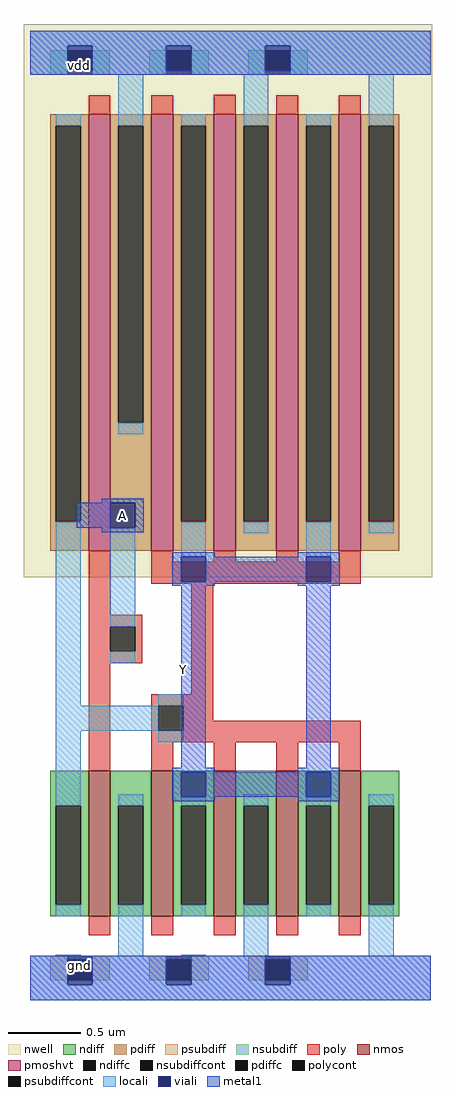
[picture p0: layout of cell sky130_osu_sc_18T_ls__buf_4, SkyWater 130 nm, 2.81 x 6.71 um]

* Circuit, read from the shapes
.subckt sky130_osu_sc_18T_ls__buf_4 A Y
XM1 gnd A n1 gnd sky130_fd_pr__nfet_01v8 w=1 l=0.15
XM2 Y n1 gnd gnd sky130_fd_pr__nfet_01v8 w=1 l=0.15 m=4
XM3 vdd A n1 vdd sky130_fd_pr__pfet_01v8_hvt w=3 l=0.15
XM4 Y n1 vdd vdd sky130_fd_pr__pfet_01v8_hvt w=3 l=0.15 m=4
.ends

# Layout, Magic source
magic
tech sky130A
magscale 1 2
<< nwell >>
rect -9 581 552 1341
<< nmos >>
rect 80 115 110 315
rect 166 115 196 315
rect 252 115 282 315
rect 338 115 368 315
rect 424 115 454 315
<< pmoshvt >>
rect 80 617 110 1217
rect 166 617 196 1217
rect 252 617 282 1217
rect 338 617 368 1217
rect 424 617 454 1217
<< ndiff >>
rect 27 267 80 315
rect 27 131 35 267
rect 69 131 80 267
rect 27 115 80 131
rect 110 267 166 315
rect 110 131 121 267
rect 155 131 166 267
rect 110 115 166 131
rect 196 267 252 315
rect 196 131 207 267
rect 241 131 252 267
rect 196 115 252 131
rect 282 267 338 315
rect 282 131 293 267
rect 327 131 338 267
rect 282 115 338 131
rect 368 267 424 315
rect 368 131 379 267
rect 413 131 424 267
rect 368 115 424 131
rect 454 267 507 315
rect 454 131 465 267
rect 499 131 507 267
rect 454 115 507 131
<< pdiff >>
rect 27 1201 80 1217
rect 27 657 35 1201
rect 69 657 80 1201
rect 27 617 80 657
rect 110 1201 166 1217
rect 110 793 121 1201
rect 155 793 166 1201
rect 110 617 166 793
rect 196 1201 252 1217
rect 196 657 207 1201
rect 241 657 252 1201
rect 196 617 252 657
rect 282 1201 338 1217
rect 282 657 293 1201
rect 327 657 338 1201
rect 282 617 338 657
rect 368 1201 424 1217
rect 368 657 379 1201
rect 413 657 424 1201
rect 368 617 424 657
rect 454 1201 507 1217
rect 454 657 465 1201
rect 499 657 507 1201
rect 454 617 507 657
<< ndiffc >>
rect 35 131 69 267
rect 121 131 155 267
rect 207 131 241 267
rect 293 131 327 267
rect 379 131 413 267
rect 465 131 499 267
<< pdiffc >>
rect 35 657 69 1201
rect 121 793 155 1201
rect 207 657 241 1201
rect 293 657 327 1201
rect 379 657 413 1201
rect 465 657 499 1201
<< psubdiff >>
rect 27 27 51 61
rect 85 27 109 61
rect 163 27 187 61
rect 221 27 245 61
rect 299 27 323 61
rect 357 27 381 61
<< nsubdiff >>
rect 27 1271 51 1305
rect 85 1271 109 1305
rect 163 1271 187 1305
rect 221 1271 245 1305
rect 299 1271 323 1305
rect 357 1271 381 1305
<< psubdiffcont >>
rect 51 27 85 61
rect 187 27 221 61
rect 323 27 357 61
<< nsubdiffcont >>
rect 51 1271 85 1305
rect 187 1271 221 1305
rect 323 1271 357 1305
<< poly >>
rect 80 1217 110 1243
rect 166 1217 196 1243
rect 252 1217 282 1244
rect 338 1217 368 1243
rect 424 1217 454 1243
rect 80 529 110 617
rect 166 602 196 617
rect 252 602 282 617
rect 338 602 368 617
rect 424 602 454 617
rect 166 572 454 602
rect 80 513 154 529
rect 80 479 110 513
rect 144 479 154 513
rect 80 463 154 479
rect 80 315 110 463
rect 221 420 251 572
rect 166 404 251 420
rect 166 370 176 404
rect 210 384 251 404
rect 210 370 454 384
rect 166 354 454 370
rect 166 315 196 354
rect 252 315 282 354
rect 338 315 368 354
rect 424 315 454 354
rect 80 89 110 115
rect 166 89 196 115
rect 252 89 282 115
rect 338 89 368 115
rect 424 89 454 115
<< polycont >>
rect 110 479 144 513
rect 176 370 210 404
<< locali >>
rect 0 1311 550 1332
rect 0 1271 51 1311
rect 85 1271 187 1311
rect 221 1271 323 1311
rect 357 1271 550 1311
rect 35 1201 69 1217
rect 121 1201 155 1271
rect 121 777 155 793
rect 207 1201 241 1217
rect 35 404 69 657
rect 110 513 144 649
rect 207 609 241 657
rect 293 1201 327 1271
rect 293 641 327 657
rect 379 1201 413 1217
rect 379 609 413 657
rect 465 1201 499 1271
rect 465 641 499 657
rect 110 463 144 479
rect 176 404 210 420
rect 35 370 176 404
rect 35 267 69 370
rect 176 354 210 370
rect 35 115 69 131
rect 121 267 155 283
rect 35 61 69 62
rect 121 61 155 131
rect 207 267 241 279
rect 207 115 241 131
rect 293 267 327 283
rect 207 61 241 62
rect 293 61 327 131
rect 379 267 413 279
rect 379 115 413 131
rect 465 267 499 283
rect 465 61 499 131
rect 0 21 51 61
rect 85 21 187 61
rect 221 21 323 61
rect 357 21 550 61
rect 0 0 550 21
<< viali >>
rect 51 1305 85 1311
rect 51 1277 85 1305
rect 187 1305 221 1311
rect 187 1277 221 1305
rect 323 1305 357 1311
rect 323 1277 357 1305
rect 110 649 144 683
rect 207 575 241 609
rect 379 575 413 609
rect 207 279 241 313
rect 379 279 413 313
rect 51 27 85 55
rect 51 21 85 27
rect 187 27 221 55
rect 187 21 221 27
rect 323 27 357 55
rect 323 21 357 27
<< metal1 >>
rect 0 1311 550 1332
rect 0 1277 51 1311
rect 85 1277 187 1311
rect 221 1277 323 1311
rect 357 1277 550 1311
rect 0 1271 550 1277
rect 98 683 156 689
rect 64 649 110 683
rect 144 649 156 683
rect 98 643 156 649
rect 195 609 253 615
rect 367 609 425 615
rect 195 575 207 609
rect 241 575 379 609
rect 413 575 425 609
rect 195 569 253 575
rect 367 569 425 575
rect 207 319 241 569
rect 379 319 413 569
rect 195 313 253 319
rect 367 313 425 319
rect 195 279 207 313
rect 241 279 379 313
rect 413 279 425 313
rect 195 273 253 279
rect 367 273 425 279
rect 0 55 550 61
rect 0 21 51 55
rect 85 21 187 55
rect 221 21 323 55
rect 357 21 550 55
rect 0 0 550 21
<< labels >>
rlabel metal1 127 666 127 666 1 A
port 1 n
rlabel metal1 211 454 211 454 1 Y
port 2 n
rlabel viali 68 48 68 48 1 gnd
rlabel viali 68 1284 68 1284 1 vdd
<< end >>
